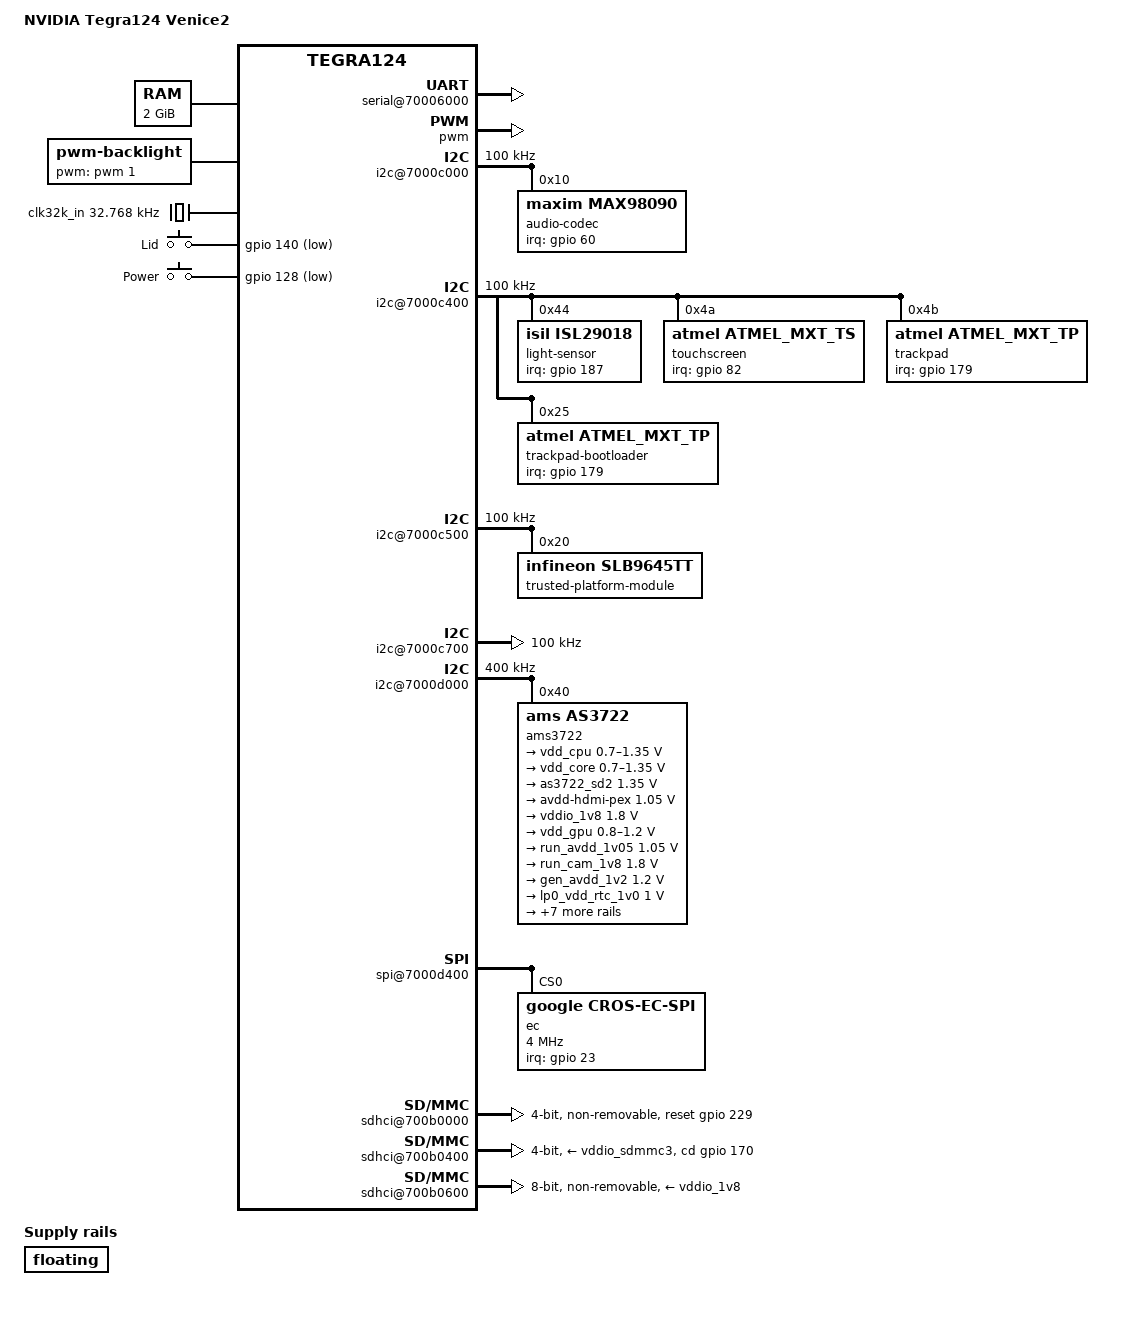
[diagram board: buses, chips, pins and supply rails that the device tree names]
/dts-v1/;

/include/ "tegra124.dtsi"

/ {
	model = "NVIDIA Tegra124 Venice2";
	compatible = "nvidia,venice2", "nvidia,tegra124";

	memory {
		reg = <0x80000000 0x80000000>;
	};

	pinmux {
		pinctrl-names = "default";
		pinctrl-0 = <&state_default>;

		state_default: pinmux {
			dap_mclk1_pw4 {
				nvidia,pins = "dap_mclk1_pw4";
				nvidia,function = "extperiph1";
				nvidia,pull = <0>;
				nvidia,tristate = <0>;
				nvidia,enable-input = <0>;
			};
			dap1_din_pn1 {
				nvidia,pins = "dap1_din_pn1",
						"dap1_dout_pn2",
						"dap1_fs_pn0",
						"dap1_sclk_pn3";
				nvidia,function = "i2s0";
				nvidia,pull = <0>;
				nvidia,tristate = <1>;
				nvidia,enable-input = <1>;
			};
			dap2_din_pa4 {
				nvidia,pins = "dap2_din_pa4";
				nvidia,function = "i2s1";
				nvidia,pull = <0>;
				nvidia,tristate = <0>;
				nvidia,enable-input = <1>;
			};
			dap2_dout_pa5 {
				nvidia,pins = "dap2_dout_pa5",
						"dap2_fs_pa2",
						"dap2_sclk_pa3";
				nvidia,function = "i2s1";
				nvidia,pull = <0>;
				nvidia,tristate = <0>;
				nvidia,enable-input = <0>;
			};
			dap3_dout_pp2 {
				nvidia,pins = "dap3_dout_pp2";
				nvidia,function = "i2s2";
				nvidia,pull = <1>;
				nvidia,tristate = <0>;
				nvidia,enable-input = <0>;
			};
			dap4_din_pp5 {
				nvidia,pins = "dap4_din_pp5",
						"dap4_dout_pp6",
						"dap4_fs_pp4",
						"dap4_sclk_pp7";
				nvidia,function = "i2s3";
				nvidia,pull = <0>;
				nvidia,tristate = <1>;
				nvidia,enable-input = <1>;
			};
			dvfs_pwm_px0 {
				nvidia,pins = "dvfs_pwm_px0",
						"dvfs_clk_px2";
				nvidia,function = "cldvfs";
				nvidia,pull = <0>;
				nvidia,tristate = <0>;
				nvidia,enable-input = <0>;
			};
			ulpi_clk_py0 {
				nvidia,pins = "ulpi_clk_py0",
						"ulpi_nxt_py2",
						"ulpi_stp_py3";
				nvidia,function = "spi1";
				nvidia,pull = <0>;
				nvidia,tristate = <0>;
				nvidia,enable-input = <0>;
			};
			ulpi_dir_py1 {
				nvidia,pins = "ulpi_dir_py1";
				nvidia,function = "spi1";
				nvidia,pull = <0>;
				nvidia,tristate = <0>;
				nvidia,enable-input = <1>;
			};
			cam_i2c_scl_pbb1 {
				nvidia,pins = "cam_i2c_scl_pbb1",
						"cam_i2c_sda_pbb2";
				nvidia,function = "i2c3";
				nvidia,pull = <0>;
				nvidia,tristate = <0>;
				nvidia,enable-input = <1>;
				nvidia,lock = <0>;
				nvidia,open-drain = <1>;
			};
			gen2_i2c_scl_pt5 {
				nvidia,pins = "gen2_i2c_scl_pt5",
						"gen2_i2c_sda_pt6";
				nvidia,function = "i2c2";
				nvidia,pull = <0>;
				nvidia,tristate = <0>;
				nvidia,enable-input = <1>;
				nvidia,lock = <0>;
				nvidia,open-drain = <1>;
			};
			pj7 {
				nvidia,pins = "pj7";
				nvidia,function = "uartd";
				nvidia,pull = <0>;
				nvidia,tristate = <0>;
				nvidia,enable-input = <0>;
			};
			pb0 {
				nvidia,pins = "pb0",
						"pb1";
				nvidia,function = "uartd";
				nvidia,pull = <2>;
				nvidia,tristate = <0>;
				nvidia,enable-input = <1>;
			};
			pk7 {
				nvidia,pins = "pk7";
				nvidia,function = "uartd";
				nvidia,pull = <0>;
				nvidia,tristate = <0>;
				nvidia,enable-input = <0>;
			};
			pg4 {
				nvidia,pins = "pg4",
						"pg5",
						"pg6",
						"pi3";
				nvidia,function = "spi4";
				nvidia,pull = <0>;
				nvidia,tristate = <0>;
				nvidia,enable-input = <0>;
			};
			pg7 {
				nvidia,pins = "pg7";
				nvidia,function = "spi4";
				nvidia,pull = <0>;
				nvidia,tristate = <0>;
				nvidia,enable-input = <1>;
			};
			ph1 {
				nvidia,pins = "ph1";
				nvidia,function = "pwm1";
				nvidia,pull = <0>;
				nvidia,tristate = <0>;
				nvidia,enable-input = <0>;
			};
			pk0 {
				nvidia,pins = "pk0",
						"kb_row15_ps7",
						"clk_32k_out_pa0";
				nvidia,function = "soc";
				nvidia,pull = <2>;
				nvidia,tristate = <0>;
				nvidia,enable-input = <1>;
			};
			sdmmc1_clk_pz0 {
				nvidia,pins = "sdmmc1_clk_pz0";
				nvidia,function = "sdmmc1";
				nvidia,pull = <0>;
				nvidia,tristate = <0>;
				nvidia,enable-input = <1>;
			};
			sdmmc1_cmd_pz1 {
				nvidia,pins = "sdmmc1_cmd_pz1",
						"sdmmc1_dat0_py7",
						"sdmmc1_dat1_py6",
						"sdmmc1_dat2_py5",
						"sdmmc1_dat3_py4";
				nvidia,function = "sdmmc1";
				nvidia,pull = <2>;
				nvidia,tristate = <0>;
				nvidia,enable-input = <1>;
			};
			sdmmc3_clk_pa6 {
				nvidia,pins = "sdmmc3_clk_pa6";
				nvidia,function = "sdmmc3";
				nvidia,pull = <0>;
				nvidia,tristate = <0>;
				nvidia,enable-input = <1>;
			};
			sdmmc3_cmd_pa7 {
				nvidia,pins = "sdmmc3_cmd_pa7",
						"sdmmc3_dat0_pb7",
						"sdmmc3_dat1_pb6",
						"sdmmc3_dat2_pb5",
						"sdmmc3_dat3_pb4",
						"kb_col4_pq4",
						"sdmmc3_clk_lb_out_pee4",
						"sdmmc3_clk_lb_in_pee5";
				nvidia,function = "sdmmc3";
				nvidia,pull = <2>;
				nvidia,tristate = <0>;
				nvidia,enable-input = <1>;
			};
			sdmmc4_clk_pcc4 {
				nvidia,pins = "sdmmc4_clk_pcc4";
				nvidia,function = "sdmmc4";
				nvidia,pull = <0>;
				nvidia,tristate = <0>;
				nvidia,enable-input = <1>;
			};
			sdmmc4_cmd_pt7 {
				nvidia,pins = "sdmmc4_cmd_pt7",
						"sdmmc4_dat0_paa0",
						"sdmmc4_dat1_paa1",
						"sdmmc4_dat2_paa2",
						"sdmmc4_dat3_paa3",
						"sdmmc4_dat4_paa4",
						"sdmmc4_dat5_paa5",
						"sdmmc4_dat6_paa6",
						"sdmmc4_dat7_paa7";
				nvidia,function = "sdmmc4";
				nvidia,pull = <2>;
				nvidia,tristate = <0>;
				nvidia,enable-input = <1>;
			};
			kb_row10_ps2 {
				nvidia,pins = "kb_row10_ps2";
				nvidia,function = "uarta";
				nvidia,pull = <2>;
				nvidia,tristate = <0>;
				nvidia,enable-input = <1>;
			};
			kb_row9_ps1 {
				nvidia,pins = "kb_row9_ps1";
				nvidia,function = "uarta";
				nvidia,pull = <0>;
				nvidia,tristate = <0>;
				nvidia,enable-input = <0>;
			};
			kb_row6_pr6 {
				nvidia,pins = "kb_row6_pr6";
				nvidia,function = "displaya_alt";
				nvidia,pull = <1>;
				nvidia,tristate = <0>;
				nvidia,enable-input = <1>;
			};
			pwr_i2c_scl_pz6 {
				nvidia,pins = "pwr_i2c_scl_pz6",
						"pwr_i2c_sda_pz7";
				nvidia,function = "i2cpwr";
				nvidia,pull = <0>;
				nvidia,tristate = <0>;
				nvidia,enable-input = <1>;
				nvidia,lock = <0>;
				nvidia,open-drain = <1>;
			};
			jtag_rtck {
				nvidia,pins = "jtag_rtck";
				nvidia,function = "rtck";
				nvidia,pull = <2>;
				nvidia,tristate = <0>;
				nvidia,enable-input = <0>;

			};
			clk_32k_in {
				nvidia,pins = "clk_32k_in";
				nvidia,function = "clk";
				nvidia,pull = <0>;
				nvidia,tristate = <0>;
				nvidia,enable-input = <1>;
			};
			core_pwr_req {
				nvidia,pins = "core_pwr_req";
				nvidia,function = "pwron";
				nvidia,pull = <0>;
				nvidia,tristate = <0>;
				nvidia,enable-input = <0>;
			};
			cpu_pwr_req {
				nvidia,pins = "cpu_pwr_req";
				nvidia,function = "cpu";
				nvidia,pull = <0>;
				nvidia,tristate = <0>;
				nvidia,enable-input = <0>;
			};
			kb_col0_ap {
				nvidia,pins = "kb_col0_pq0";
				nvidia,function = "rsvd4";
				nvidia,pull = <2>;
				nvidia,tristate = <0>;
				nvidia,enable-input = <1>;
			};
			kbl_pwm {
				nvidia,pins = "ph0";
				nvidia,function = "pwm0";
				nvidia,pull = <0>;
				nvidia,tristate = <0>;
				nvidia,enable-input = <0>;
			};
			lid_open {
				nvidia,pins = "kb_row4_pr4";
				nvidia,function = "rsvd3";
				nvidia,pull = <2>;
				nvidia,tristate = <0>;
				nvidia,enable-input = <1>;
			};
			pwr_int_n {
				nvidia,pins = "pwr_int_n";
				nvidia,function = "pmi";
				nvidia,pull = <2>;
				nvidia,tristate = <0>;
				nvidia,enable-input = <1>;
			};
			reset_out_n {
				nvidia,pins = "reset_out_n";
				nvidia,function = "reset_out_n";
				nvidia,pull = <0>;
				nvidia,tristate = <0>;
				nvidia,enable-input = <0>;
			};
			clk3_out_pee0 {
				nvidia,pins = "clk3_out_pee0";
				nvidia,function = "extperiph3";
				nvidia,pull = <0>;
				nvidia,tristate = <0>;
				nvidia,enable-input = <0>;
			};
			gen1_i2c_scl_pc4 {
				nvidia,pins = "gen1_i2c_scl_pc4",
						"gen1_i2c_sda_pc5";
				nvidia,function = "i2c1";
				nvidia,pull = <0>;
				nvidia,tristate = <0>;
				nvidia,enable-input = <1>;
				nvidia,lock = <0>;
				nvidia,open-drain = <1>;
			};
			uart2_cts_n_pj5 {
				nvidia,pins = "uart2_cts_n_pj5";
				nvidia,function = "uartb";
				nvidia,pull = <0>;
				nvidia,tristate = <0>;
				nvidia,enable-input = <1>;
			};
			uart2_rts_n_pj6 {
				nvidia,pins = "uart2_rts_n_pj6";
				nvidia,function = "uartb";
				nvidia,pull = <0>;
				nvidia,tristate = <0>;
				nvidia,enable-input = <0>;
			};
			uart2_rxd_pc3 {
				nvidia,pins = "uart2_rxd_pc3";
				nvidia,function = "irda";
				nvidia,pull = <0>;
				nvidia,tristate = <0>;
				nvidia,enable-input = <1>;
			};
			uart2_txd_pc2 {
				nvidia,pins = "uart2_txd_pc2";
				nvidia,function = "irda";
				nvidia,pull = <0>;
				nvidia,tristate = <0>;
				nvidia,enable-input = <0>;
			};
			uart3_cts_n_pa1 {
				nvidia,pins = "uart3_cts_n_pa1",
						"uart3_rxd_pw7";
				nvidia,function = "uartc";
				nvidia,pull = <0>;
				nvidia,tristate = <0>;
				nvidia,enable-input = <1>;
			};
			uart3_rts_n_pc0 {
				nvidia,pins = "uart3_rts_n_pc0",
						"uart3_txd_pw6";
				nvidia,function = "uartc";
				nvidia,pull = <0>;
				nvidia,tristate = <0>;
				nvidia,enable-input = <0>;
			};
			hdmi_cec_pee3 {
				nvidia,pins = "hdmi_cec_pee3";
				nvidia,function = "cec";
				nvidia,pull = <0>;
				nvidia,tristate = <0>;
				nvidia,enable-input = <1>;
				nvidia,lock = <0>;
				nvidia,open-drain = <0>;
			};
			hdmi_int_pn7 {
				nvidia,pins = "hdmi_int_pn7";
				nvidia,function = "rsvd1";
				nvidia,pull = <1>;
				nvidia,tristate = <0>;
				nvidia,enable-input = <1>;
			};
			ddc_scl_pv4 {
				nvidia,pins = "ddc_scl_pv4",
						"ddc_sda_pv5";
				nvidia,function = "i2c4";
				nvidia,pull = <0>;
				nvidia,tristate = <0>;
				nvidia,enable-input = <1>;
				nvidia,lock = <0>;
				nvidia,rcv-sel = <1>;
			};
			usb_vbus_en0_pn4 {
				nvidia,pins = "usb_vbus_en0_pn4",
						"usb_vbus_en1_pn5",
						"usb_vbus_en2_pff1";
				nvidia,function = "usb";
				nvidia,pull = <2>;
				nvidia,tristate = <0>;
				nvidia,enable-input = <1>;
				nvidia,lock = <0>;
				nvidia,open-drain = <1>;
			};
			drive_sdio1 {
				nvidia,pins = "drive_sdio1";
				nvidia,high-speed-mode = <1>;
				nvidia,schmitt = <0>;
				nvidia,low-power-mode = <3>;
				nvidia,pull-down-strength = <36>;
				nvidia,pull-up-strength = <20>;
				nvidia,slew-rate-rising = <2>;
				nvidia,slew-rate-falling = <2>;
			};
			drive_sdio3 {
				nvidia,pins = "drive_sdio3";
				nvidia,high-speed-mode = <1>;
				nvidia,schmitt = <0>;
				nvidia,low-power-mode = <3>;
				nvidia,pull-down-strength = <22>;
				nvidia,pull-up-strength = <36>;
				nvidia,slew-rate-rising = <0>;
				nvidia,slew-rate-falling = <0>;
			};
			drive_gma {
				nvidia,pins = "drive_gma";
				nvidia,high-speed-mode = <1>;
				nvidia,schmitt = <0>;
				nvidia,low-power-mode = <3>;
				nvidia,pull-down-strength = <2>;
				nvidia,pull-up-strength = <1>;
				nvidia,slew-rate-rising = <0>;
				nvidia,slew-rate-falling = <0>;
				nvidia,drive-type = <1>;
			};
			als_irq_l {
				nvidia,pins = "gpio_x3_aud_px3";
				nvidia,function = "gmi";
				nvidia,pull = <0>;
				nvidia,tristate = <1>;
				nvidia,enable-input = <1>;
			};
			codec_irq_l {
				nvidia,pins = "ph4";
				nvidia,function = "gmi";
				nvidia,pull = <0>;
				nvidia,tristate = <0>;
				nvidia,enable-input = <1>;
			};
			lcd_bl_en {
				nvidia,pins = "ph2";
				nvidia,function = "gmi";
				nvidia,pull = <1>;
				nvidia,tristate = <0>;
				nvidia,enable-input = <0>;
			};
			touch_irq_l {
				nvidia,pins = "gpio_w3_aud_pw3";
				nvidia,function = "spi6";
				nvidia,pull = <0>;
				nvidia,tristate = <1>;
				nvidia,enable-input = <1>;
			};
			tpm_davint_l {
				nvidia,pins = "ph6";
				nvidia,function = "gmi";
				nvidia,pull = <0>;
				nvidia,tristate = <1>;
				nvidia,enable-input = <1>;
			};
			ts_irq_l {
				nvidia,pins = "pk2";
				nvidia,function = "gmi";
				nvidia,pull = <0>;
				nvidia,tristate = <1>;
				nvidia,enable-input = <1>;
			};
			ts_reset_l {
				nvidia,pins = "pk4";
				nvidia,function = "gmi";
				nvidia,pull = <1>;
				nvidia,tristate = <0>;
				nvidia,enable-input = <0>;
			};
			ts_shdn_l {
				nvidia,pins = "pk1";
				nvidia,function = "gmi";
				nvidia,pull = <2>;
				nvidia,tristate = <0>;
				nvidia,enable-input = <0>;
			};
			ph7 {
				nvidia,pins = "ph7";
				nvidia,function = "gmi";
				nvidia,pull = <0>;
				nvidia,tristate = <0>;
				nvidia,enable-input = <1>;
			};
		};
	};

	serial@70006000 {
		status = "okay";
	};

	pwm {
		status = "okay";
	};

	i2c@7000c000 {
		status = "okay";
		clock-frequency = <100000>;

		audio-codec {
			compatible = "maxim,max98090";
			reg = <0x10>;
			interrupt-parent = <&gpio>;
			interrupts = <60 0>; /* GPIO PH4 */
		};
	};

	i2c@7000c400 {
		status = "okay";
		clock-frequency = <100000>;

		light-sensor {
			compatible = "isil,isl29018";
			reg = <0x44>;
			interrupt-parent = <&gpio>;
			interrupts = <187 0>; /* GPIO X3 */
		};

		touchscreen {
			compatible = "atmel,atmel_mxt_ts";
			reg = <0x4a>;
			interrupt-parent = <&gpio>;
			interrupts = <82 0>; /* GPIO PK2 */
			wakeup-source;
		};

		trackpad {
			compatible = "atmel,atmel_mxt_tp";
			reg = <0x4b>;
			interrupt-parent = <&gpio>;
			interrupts = <179 0>; /* GPIO PW3 */
			wakeup-source;
		};

		trackpad-bootloader {
			compatible = "atmel,atmel_mxt_tp";
			reg = <0x25>;
			interrupt-parent = <&gpio>;
			interrupts = <179 0>; /* GPIO PW3 */
			wakeup-source;
		};
	};

	i2c@7000c500 {
		status = "okay";
		clock-frequency = <100000>;

		trusted-platform-module {
			compatible = "infineon,slb9645tt";
			reg = <0x20>;
		};
	};

	i2c@7000c700 {
		status = "okay";
		clock-frequency = <100000>;
	};

	i2c@7000d000 {
		status = "okay";
		clock-frequency = <400000>;

		ams3722: ams3722 {
			compatible = "ams,as3722";
			reg = <0x40>;

			interrupts = <0 86 0>;
			interrupt-controller;
			#interrupt-cells = <2>;

			gpio-controller;
			#gpio-cells = <2>;

			pinctrl-names = "default";
			pinctrl-0 = <&as3722_default>;

			as3722_default: pinmux {
				gpio0 {
					pins = "gpio0";
					function = "gpio";
					bias-pull-down;
				};

				gpio1_2_4_7 {
					pins = "gpio1", "gpio2", "gpio4",
						"gpio7";
					function = "gpio";
					bias-pull-up;
				};

				gpio3_6 {
					pins = "gpio3", "gpio6";
					function = "gpio";
					bias-high-impedance;
				};

				gpio5 {
					pins = "gpio5";
					function = "clk32k-out";
					bias-pull-up;
				};
			};

			regulators {
				vsup-sd2-supply = <&floating>;
				vsup-sd3-supply = <&floating>;
				vsup-sd4-supply = <&floating>;
				vsup-sd5-supply = <&floating>;
				vin-ldo0-supply = <&as3722_sd2>;
				vin-ldo1-6-supply = <&floating>;
				vin-ldo2-5-7-supply = <&vddio_1v8>;
				vin-ldo3-4-supply = <&floating>;
				vin-ldo9-10-supply = <&floating>;
				vin-ldo11-supply = <&floating>;

				sd0 {
					regulator-name = "vdd_cpu";
					regulator-min-microvolt = <700000>;
					regulator-max-microvolt = <1350000>;
					ams,ext-control = <2>;
				};

				sd1 {
					regulator-name = "vdd_core";
					regulator-min-microvolt = <700000>;
					regulator-max-microvolt = <1350000>;
					regulator-max-microamp = <3500000>;
					ams,ext-control = <1>;
				};

				as3722_sd2: sd2 {
					regulator-name = "vddio_ddr";
					regulator-min-microvolt = <1350000>;
					regulator-max-microvolt = <1350000>;
				};

				sd4 {
					regulator-name = "avdd-hdmi-pex";
					regulator-min-microvolt = <1050000>;
					regulator-max-microvolt = <1050000>;
				};

				vddio_1v8: sd5 {
					regulator-name = "vdd-1v8";
					regulator-min-microvolt = <1800000>;
					regulator-max-microvolt = <1800000>;
				};

				sd6 {
					regulator-name = "vdd_gpu";
					regulator-min-microvolt = <800000>;
					regulator-max-microvolt = <1200000>;
				};

				run_avdd_1v05: ldo0 {
					regulator-name = "avdd-pll";
					regulator-min-microvolt = <1050000>;
					regulator-max-microvolt = <1050000>;
					ams,ext-control = <1>;
				};

				run_cam_1v8: ldo1 {
					regulator-name = "vdd_cam";
					regulator-min-microvolt = <1800000>;
					regulator-max-microvolt = <1800000>;
				};

				gen_avdd_1v2: ldo2 {
					regulator-name = "vddio_hsic";
					regulator-min-microvolt = <1200000>;
					regulator-max-microvolt = <1200000>;
				};

				lp0_vdd_rtc_1v0: ldo3 {
					regulator-name = "vdd_rtc";
					regulator-min-microvolt = <1000000>;
					regulator-max-microvolt = <1000000>;
					ams,enable-tracking;
				};

				run_cam_2v8: ldo4 {
					regulator-name = "avdd_cam";
					regulator-min-microvolt = <2800000>;
					regulator-max-microvolt = <2800000>;
				};

				run_cam_front_1v2: ldo5 {
					regulator-name = "vdig";
					regulator-min-microvolt = <1200000>;
					regulator-max-microvolt = <1200000>;
				};

				vddio_sdmmc3: ldo6 {
					regulator-name = "vddio_sdmmc";
					regulator-min-microvolt = <3300000>;
					regulator-max-microvolt = <3300000>;
				};

				run_cam_rear_en_1v05: ldo7 {
					regulator-name = "vdd_cam1";
					regulator-min-microvolt = <1050000>;
					regulator-max-microvolt = <1050000>;
				};

				run_touch_2v8: ldo9 {
					regulator-name = "avdd";
					regulator-min-microvolt = <2800000>;
					regulator-max-microvolt = <2800000>;
				};

				run_cam_af_2v8: ldo10 {
					regulator-name = "avdd_af1_cam";
					regulator-min-microvolt = <2800000>;
					regulator-max-microvolt = <2800000>;
				};

				run_vpp_fuse_1v8: ldo11 {
					regulator-name = "vpp_fuse";
					regulator-min-microvolt = <1800000>;
					regulator-max-microvolt = <1800000>;
				};
			};
		};
	};

	spi@7000d400 {
		status = "okay";
		ec: cros-ec@0 {
			compatible = "google,cros-ec-spi";
			spi-max-frequency = <4000000>;
			interrupt-parent = <&gpio>;
			interrupts = <23 0x08>; /* GPIO PC7 */
			reg = <0>;

			google,cros-ec-spi-msg-delay = <2000>;

			i2c_20: i2c-tunnel {
				compatible = "google,cros-ec-i2c-tunnel";
				#address-cells = <1>;
				#size-cells = <0>;

				google,remote-bus = <0>;

				battery: smart-battery {
					compatible = "sbs,sbs-battery";
					reg = <0xb>;
					battery-name = "battery";
					sbs,poll-retry-count = <10>;
				};
			};

			keyboard-controller {
				compatible = "google,cros-ec-keyb";
				keypad,num-rows = <8>;
				keypad,num-columns = <13>;
				google,needs-ghost-filter;
				linux,keymap = <0x0001007d	/* L_META */
						0x0002003b	/* F1 */
						0x00030030	/* B */
						0x00040044	/* F10 */
						0x00060031	/* N */
						0x0008000d	/* = */
						0x000a0064	/* R_ALT */

						0x01010001	/* ESC */
						0x0102003e	/* F4 */
						0x01030022	/* G */
						0x01040041	/* F7 */
						0x01060023	/* H */
						0x01080028	/* ' */
						0x01090043	/* F9 */
						0x010b000e	/* BKSPACE */

						0x0200001d	/* L_CTRL */
						0x0201000f	/* TAB */
						0x0202003d	/* F3 */
						0x02030014	/* T */
						0x02040040	/* F6 */
						0x0205001b	/* ] */
						0x02060015	/* Y */
						0x02070056	/* 102ND */
						0x0208001a	/* [ */
						0x02090042	/* F8 */

						0x03010029	/* GRAVE */
						0x0302003c	/* F2 */
						0x03030006	/* 5 */
						0x0304003f	/* F5 */
						0x03060007	/* 6 */
						0x0308000c	/* - */
						0x030b002b	/* \ */

						0x04000061	/* R_CTRL */
						0x0401001e	/* A */
						0x04020020	/* D */
						0x04030021	/* F */
						0x0404001f	/* S */
						0x04050025	/* K */
						0x04060024	/* J */
						0x04080027	/* ; */
						0x04090026	/* L */
						0x040a002b	/* \ */
						0x040b001c	/* ENTER */

						0x0501002c	/* Z */
						0x0502002e	/* C */
						0x0503002f	/* V */
						0x0504002d	/* X */
						0x05050033	/* , */
						0x05060032	/* M */
						0x0507002a	/* L_SHIFT */
						0x05080035	/* / */
						0x05090034	/* . */
						0x050B0039	/* SPACE */

						0x06010002	/* 1 */
						0x06020004	/* 3 */
						0x06030005	/* 4 */
						0x06040003	/* 2 */
						0x06050009	/* 8 */
						0x06060008	/* 7 */
						0x0608000b	/* 0 */
						0x0609000a	/* 9 */
						0x060a0038	/* L_ALT */
						0x060b006c	/* DOWN */
						0x060c006a	/* RIGHT */

						0x07010010	/* Q */
						0x07020012	/* E */
						0x07030013	/* R */
						0x07040011	/* W */
						0x07050017	/* I */
						0x07060016	/* U */
						0x07070036	/* R_SHIFT */
						0x07080019	/* P */
						0x07090018	/* O */
						0x070b0067	/* UP */
						0x070c0069>;	/* LEFT */
			};
		};
	};

	pmc {
		nvidia,invert-interrupt;
	};

	sdhci@700b0000 {
		power-gpios = <&gpio 191 0>;
		reset-gpios = <&gpio 229 0>;
		bus-width = <4>;
		no-1-8-v;
		non-removable;
		status = "okay";
	};

	sdhci@700b0400 {
		cd-gpios = <&gpio 170 0>; /* gpio PV2 */
		no-1-8-v;
		bus-width = <4>;
		status = "okay";
		vmmc-supply = <&vddio_sdmmc3>;
	};

	sdhci@700b0600 {
		bus-width = <8>;
		no-1-8-v;
		non-removable;
		status = "okay";
		vmmc-supply = <&vddio_1v8>;
		sd-slot-supply = <&run_cam_2v8>;
	};

	backlight {
		compatible = "pwm-backlight";
		pwms = <&pwm 1 1000000>;
		default-brightness-level = <224>;
		brightness-levels =
			<  0   0   1   2   3   4   5   6
			   7   8   9   9  10  11  12  13
			  13  14  15  16  17  17  18  19
			  20  21  22  22  23  24  25  26
			  27  27  28  29  30  31  32  32
			  33  34  35  36  37  37  38  39
			  40  41  42  42  43  44  45  46
			  47  48  48  49  50  51  52  53
			  54  55  56  57  57  58  59  60
			  61  62  63  64  65  66  67  68
			  69  70  71  71  72  73  74  75
			  76  77  77  78  79  80  81  82
			  83  84  85  87  88  89  90  91
			  92  93  94  95  96  97  98  99
			 100 101 102 103 104 105 106 107
			 108 109 110 111 112 113 115 116
			 117 118 119 120 121 122 123 124
			 125 126 127 128 129 130 131 132
			 133 134 135 136 137 138 139 141
			 142 143 144 146 147 148 149 151
			 152 153 154 155 156 157 158 158
			 159 160 161 162 163 165 166 167
			 168 169 170 171 172 173 174 176
			 177 178 179 180 182 183 184 185
			 186 187 188 189 190 191 192 194
			 195 196 197 198 199 200 201 202
			 203 204 205 206 207 208 209 210
			 211 212 213 214 215 216 217 219
			 220 221 222 224 225 226 227 229
			 230 231 232 233 234 235 236 238
			 239 240 241 242 243 244 245 246
			 247 248 249 250 251 252 253 255>;
	};

	clocks {
		compatible = "simple-bus";
		#address-cells = <1>;
		#size-cells = <0>;

		clk32k_in: clock {
			compatible = "fixed-clock";
			reg = <0>;
			#clock-cells = <0>;
			clock-frequency = <32768>;
		};
	};

	gpio-keys {
		compatible = "gpio-keys";

		lid {
			label = "Lid";
			gpios = <&gpio 140 1>; /*GPIO R4 */
			linux,input-type = <5>;
			linux,code = <0>;
			debounce-interval = <1>;
		};

		power {
			label = "Power";
			gpios = <&gpio 128 1>; /* GPIO Q0 */
			linux,code = <116>;
			debounce-interval = <10>;
		};
	};

	regulators {
		compatible = "simple-bus";
		#address-cells = <1>;
		#size-cells = <0>;

		floating: regulator@0 {
			compatible = "regulator-fixed";
			reg = <0>;
			regulator-name = "floating";
		};
	};
};
